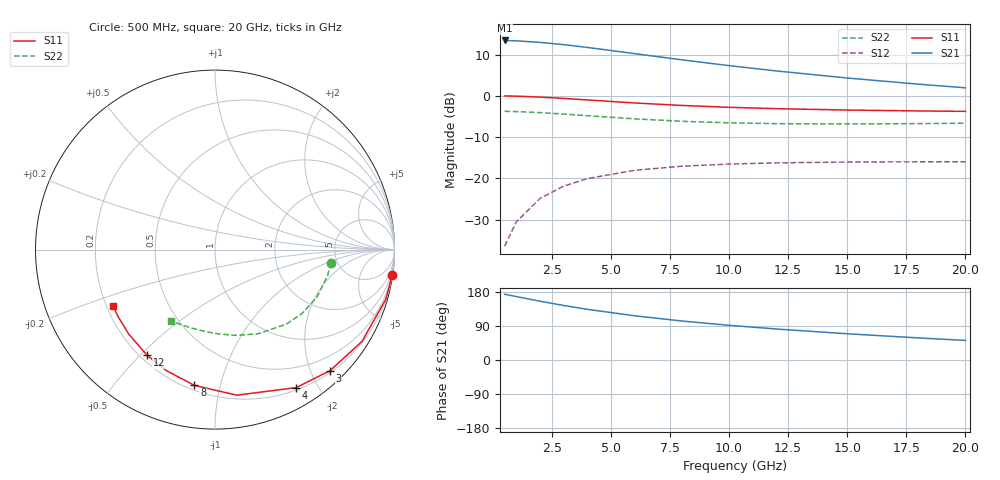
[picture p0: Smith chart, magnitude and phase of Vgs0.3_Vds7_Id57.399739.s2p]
# Hz S RI R 50
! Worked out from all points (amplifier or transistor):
!   12 points, 500 MHz to 20 GHz, reference 50 ohm
!   highest |S21| = 13.4 dB at 500 MHz (marker M1)
!   |S21| within 3 dB of that: start of sweep to 5.751 GHz
!   unconditionally stable (mu >= 1): 19.85 GHz to end of sweep
!   at 2 GHz: K = 0.10, MSG = 18.9 dB, |S12| = -24.8 dB
!   at 8 GHz: K = 0.39, MSG = 12.9 dB, |S12| = -17.0 dB
!   at 20 GHz: K = 1.01, MAG = 8.4 dB, |S12| = -16.0 dB
!   S11 on the Smith chart (normalised r, x): 500 MHz: 0, -14; 3 GHz: 0.23, -2.31; 4 GHz: 0.23, -1.72; 8 GHz: 0.23, -0.83; 12 GHz: 0.23, -0.52; 20 GHz: 0.23, -0.25
5e8  0.9874 -0.1424  -4.658 0.5218  0.00146 0.015  0.6451 -0.0725
1e9  0.9508 -0.2786  -4.521 1.02  0.0057 0.0293  0.6284 -0.1423
2e9  0.819 -0.5116  -4.031 1.869  0.0209 0.0533  0.5681 -0.2643
3e9  0.6407 -0.6748  -3.37 2.457  0.0415 0.0692  0.486 -0.3552
4e9  0.4514 -0.7691  -2.669 2.788  0.0631 0.0769  0.3976 -0.4154
6e9  0.1208 -0.8111  -1.457 2.902  0.1003 0.0754  0.2384 -0.4693
8e9  -0.1148 -0.7565  -0.6102 2.661  0.1256 0.0629  0.1165 -0.478
1e10  -0.2727 -0.6732  -0.0626 2.321  0.1414 0.0475  0.025 -0.4704
1.2e10  -0.3791 -0.5877  0.2859 1.982  0.1507 0.0324  -0.0468 -0.458
1.5e10  -0.4803 -0.4714  0.5838 1.538  0.1573 0.0122  -0.1329 -0.4368
1.8e10  -0.5411 -0.3718  0.728 1.179  0.159 -0.00476  -0.204 -0.4133
2e10  -0.568 -0.3133  0.7751 0.9818  0.1585 -0.0145  -0.2458 -0.3961
